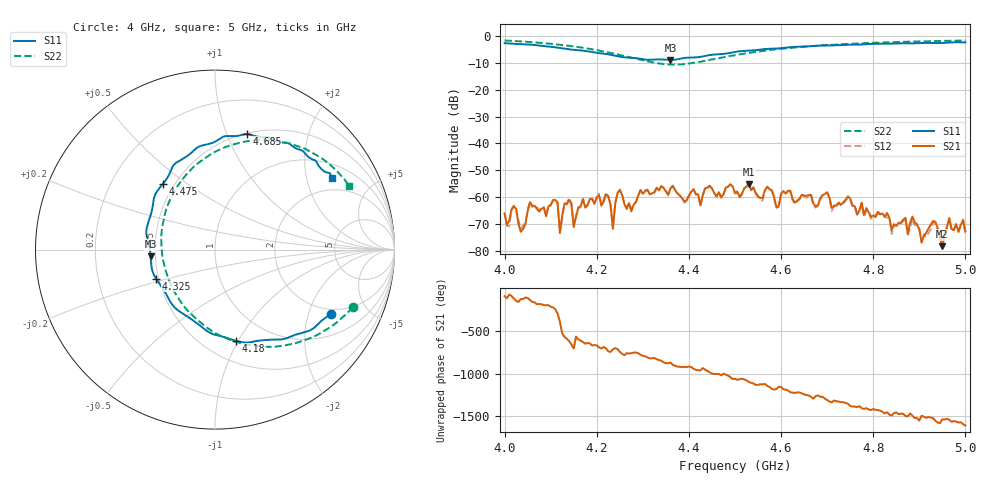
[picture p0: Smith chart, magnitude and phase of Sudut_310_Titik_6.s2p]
# Hz S RI R 50
! CMT, C1220, 16058040, 17.2.0/1
! Date: 15/08/2018 12:14:08
! Data: Format (Calibration Info)
! Freq  S11: Re/Im (F2)  S21: Re/Im (F2)  S12: Re/Im (F2)  S22: Re/Im (F2)
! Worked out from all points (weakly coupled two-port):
!   201 points, 4 GHz to 5 GHz, reference 50 ohm
!   highest |S21| = -55.08 dB at 4.53 GHz (marker M1); lowest = -78.3 dB at 4.95 GHz (marker M2)
!   lowest |S11| = -8.8 dB at 4.36 GHz (marker M3), VSWR 2.13, Z = 23.5 - j1.98 ohm
!   |S11| at or under -10 dB: nowhere
!   |S22| runs from -10.6 to -1.6 dB; largest |S21 - S12| = 0.00012
!   S11 on the Smith chart (normalised r, x): 4 GHz: 1.80, -2.84; 4.18 GHz: 0.70, -0.98; 4.325 GHz: 0.48, -0.18; 4.475 GHz: 0.43, +0.40; 4.685 GHz: 0.51, +1.18; 5 GHz: 1.47, +2.84
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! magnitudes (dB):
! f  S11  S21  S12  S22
! 4 GHz  -2.6  -66.2  -65.6  -1.6
! 4.11 GHz  -4.2  -61.0  -60.7  -3.0
! 4.12 GHz  -4.4  -73.3  -73.2  -3.2
! 4.13 GHz  -4.6  -62.5  -62.3  -3.4
! 4.15 GHz  -5.1  -71.2  -70.5  -3.8
! 4.17 GHz  -5.4  -60.8  -60.7  -4.3
! 4.18 GHz  -5.6  -63.1  -62.7  -4.6
! 4.22 GHz  -6.6  -58.9  -58.6  -5.9
! 4.235 GHz  -7.1  -71.6  -71.9  -6.4
! 4.25 GHz  -7.7  -57.4  -57.2  -7.0
! 4.325 GHz  -8.7  -58.3  -58.0  -9.9
! 4.335 GHz  -8.7  -57.5  -57.2  -10.2
! 4.36 GHz  -8.8  -56.7  -56.8  -10.6
! 4.475 GHz  -6.6  -59.0  -59.1  -7.9
! 4.5 GHz  -5.9  -58.4  -58.8  -7.1
! 4.53 GHz  -5.5  -55.1  -55.3  -6.2
! 4.67 GHz  -3.7  -62.4  -63.0  -3.7
! 4.685 GHz  -3.5  -60.5  -60.8  -3.5
! 4.835 GHz  -2.8  -67.7  -67.5  -2.3
! 4.95 GHz  -2.5  -78.3  -78.1  -1.8
! 4.965 GHz  -2.4  -67.8  -67.9  -1.7
! 5 GHz  -2.3  -72.6  -74.2  -1.6
